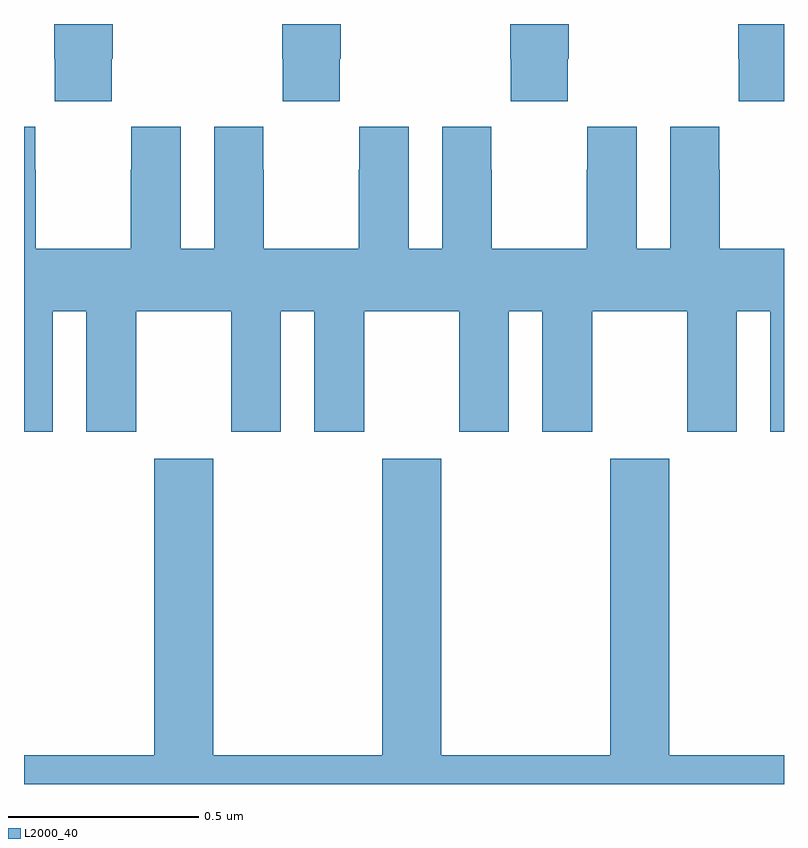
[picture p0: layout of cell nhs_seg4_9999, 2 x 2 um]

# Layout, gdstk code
import gdstk
lib = gdstk.Library(unit=1e-6, precision=1e-09)
def P(c, l, *ps):  # polygons
    for p in ps: c.add(gdstk.Polygon(p, *l))
L2000_40 = (2000, 40)

nhs_seg4_9999 = lib.new_cell('nhs_seg4_9999')
P(nhs_seg4_9999, L2000_40, [(236,806.9),(235.879,806.9),(235.879,806.809),(235.881,806.809),(235.881,806.697),(236,806.697)],
  [(234.231,806.809),(234.234,806.809),(234.234,806.9),(234.079,806.9),(234.079,806.809),(234.081,806.809),(234.081,806.697),(234.231,806.697)],
  [(234.831,806.809),(234.834,806.809),(234.834,806.9),(234.679,806.9),(234.679,806.809),(234.681,806.809),(234.681,806.697),(234.831,806.697)],
  [(235.431,806.809),(235.434,806.809),(235.434,806.9),(235.279,806.9),(235.279,806.809),(235.281,806.809),(235.281,806.697),(235.431,806.697)],
  [(234.076,806.144),(234.164,806.144),(234.164,805.827),(234.295,805.827),(234.295,806.144),(234.545,806.144),(234.545,805.827),(234.676,805.827),(234.676,806.144),(234.764,806.144),(234.764,805.827),(234.895,805.827),(234.895,806.144),(235.145,806.144),(235.145,805.827),(235.276,805.827),(235.276,806.144),(235.364,806.144),(235.364,805.827),(235.495,805.827),(235.495,806.144),(235.745,806.144),(235.745,805.827),(235.876,805.827),(235.876,806.144),(235.964,806.144),(235.964,805.827),(236,805.827),(236,806.308),(235.831,806.308),(235.831,806.516),(235.83,806.516),(235.83,806.629),(235.7,806.629),(235.7,806.308),(235.612,806.308),(235.612,806.629),(235.482,806.629),(235.482,806.516),(235.481,806.516),(235.481,806.308),(235.231,806.308),(235.231,806.516),(235.23,806.516),(235.23,806.629),(235.1,806.629),(235.1,806.308),(235.012,806.308),(235.012,806.629),(234.882,806.629),(234.882,806.516),(234.881,806.516),(234.881,806.308),(234.631,806.308),(234.631,806.516),(234.63,806.516),(234.63,806.629),(234.5,806.629),(234.5,806.308),(234.412,806.308),(234.412,806.629),(234.282,806.629),(234.282,806.516),(234.281,806.516),(234.281,806.308),(234.031,806.308),(234.031,806.516),(234.03,806.516),(234.03,806.629),(234,806.629),(234,805.827),(234.076,805.827)],
  [(236,804.976),(235.698,804.976),(235.698,805.756),(235.543,805.756),(235.543,804.976),(235.098,804.976),(235.098,805.756),(234.943,805.756),(234.943,804.976),(234.498,804.976),(234.498,805.756),(234.343,805.756),(234.343,804.976),(234,804.976),(234,804.9),(236,804.9)])

lib.write_gds('nhs_seg4_9999.gds')
